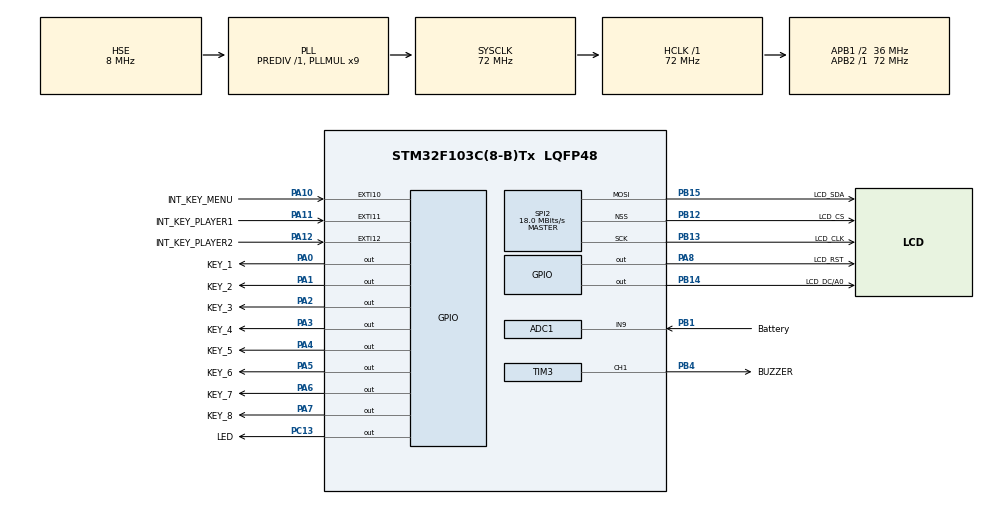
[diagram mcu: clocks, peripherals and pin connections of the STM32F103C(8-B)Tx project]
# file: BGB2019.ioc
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ADC1.Channel-0\#ChannelRegularConversion=ADC_CHANNEL_9
ADC1.Channel-1\#ChannelRegularConversion=ADC_CHANNEL_VREFINT
ADC1.ContinuousConvMode=DISABLE
ADC1.NbrOfConversion=2
ADC1.NbrOfConversionFlag=1
ADC1.Rank-0\#ChannelRegularConversion=1
ADC1.Rank-1\#ChannelRegularConversion=2
ADC1.SamplingTime-0\#ChannelRegularConversion=ADC_SAMPLETIME_239CYCLES_5
ADC1.SamplingTime-1\#ChannelRegularConversion=ADC_SAMPLETIME_239CYCLES_5
ADC1.master=1
Dma.ADC1.0.Direction=DMA_PERIPH_TO_MEMORY
Dma.ADC1.0.Instance=DMA1_Channel1
Dma.ADC1.0.MemDataAlignment=DMA_MDATAALIGN_HALFWORD
Dma.ADC1.0.MemInc=DMA_MINC_ENABLE
Dma.ADC1.0.Mode=DMA_NORMAL
Dma.ADC1.0.PeriphDataAlignment=DMA_PDATAALIGN_HALFWORD
Dma.ADC1.0.PeriphInc=DMA_PINC_DISABLE
Dma.ADC1.0.Priority=DMA_PRIORITY_LOW
Dma.Request0=ADC1
Mcu.Family=STM32F1
Mcu.Name=STM32F103C(8-B)Tx
Mcu.Package=LQFP48
NVIC.DMA1_Channel1_IRQn=true\:0\:0\:false\:false\:true\:false\:true
NVIC.EXTI15_10_IRQn=true\:0\:0\:false\:false\:true\:true\:true
NVIC.PriorityGroup=NVIC_PRIORITYGROUP_4
NVIC.TIM4_IRQn=true\:0\:0\:false\:false\:true\:true\:true
PA0-WKUP.GPIO_Label=KEY_1
PA0-WKUP.GPIO_ModeDefaultOutputPP=GPIO_MODE_OUTPUT_OD
PA0-WKUP.GPIO_Speed=GPIO_SPEED_FREQ_HIGH
PA0-WKUP.PinState=GPIO_PIN_RESET
PA0-WKUP.Signal=GPIO_Output
PA1.GPIO_Label=KEY_2
PA1.GPIO_ModeDefaultOutputPP=GPIO_MODE_OUTPUT_OD
PA1.GPIO_Speed=GPIO_SPEED_FREQ_HIGH
PA1.Signal=GPIO_Output
PA10.GPIO_Label=INT_KEY_MENU
PA10.GPIO_ModeDefaultEXTI=GPIO_MODE_IT_RISING_FALLING
PA10.GPIO_PuPd=GPIO_PULLUP
PA10.Signal=GPXTI10
PA11.GPIO_Label=INT_KEY_PLAYER1
PA11.GPIO_ModeDefaultEXTI=GPIO_MODE_IT_RISING_FALLING
PA11.GPIO_PuPd=GPIO_PULLUP
PA11.Signal=GPXTI11
PA12.GPIO_Label=INT_KEY_PLAYER2
PA12.GPIO_ModeDefaultEXTI=GPIO_MODE_IT_RISING_FALLING
PA12.GPIO_PuPd=GPIO_PULLUP
PA12.Signal=GPXTI12
PA13.Mode=JTAG_4_pins
PA13.Signal=SYS_JTMS-SWDIO
PA14.Mode=JTAG_4_pins
PA14.Signal=SYS_JTCK-SWCLK
PA15.Mode=JTAG_4_pins
PA15.Signal=SYS_JTDI
PA2.GPIO_Label=KEY_3
PA2.GPIO_ModeDefaultOutputPP=GPIO_MODE_OUTPUT_OD
PA2.GPIO_Speed=GPIO_SPEED_FREQ_HIGH
PA2.Signal=GPIO_Output
PA3.GPIO_Label=KEY_4
PA3.GPIO_ModeDefaultOutputPP=GPIO_MODE_OUTPUT_OD
PA3.GPIO_Speed=GPIO_SPEED_FREQ_HIGH
PA3.Signal=GPIO_Output
PA4.GPIO_Label=KEY_5
PA4.GPIO_ModeDefaultOutputPP=GPIO_MODE_OUTPUT_OD
PA4.GPIO_Speed=GPIO_SPEED_FREQ_HIGH
PA4.Signal=GPIO_Output
PA5.GPIO_Label=KEY_6
PA5.GPIO_ModeDefaultOutputPP=GPIO_MODE_OUTPUT_OD
PA5.GPIO_Speed=GPIO_SPEED_FREQ_HIGH
PA5.Signal=GPIO_Output
PA6.GPIO_Label=KEY_7
PA6.GPIO_ModeDefaultOutputPP=GPIO_MODE_OUTPUT_OD
PA6.GPIO_Speed=GPIO_SPEED_FREQ_HIGH
PA6.Signal=GPIO_Output
PA7.GPIO_Label=KEY_8
PA7.GPIO_ModeDefaultOutputPP=GPIO_MODE_OUTPUT_OD
PA7.GPIO_Speed=GPIO_SPEED_FREQ_HIGH
PA7.Signal=GPIO_Output
PA8.GPIO_Label=LCD_RST
PA8.GPIO_ModeDefaultOutputPP=GPIO_MODE_OUTPUT_PP
PA8.GPIO_Speed=GPIO_SPEED_FREQ_LOW
PA8.Signal=GPIO_Output
PB1.GPIO_Label=Battery
PB1.Signal=ADCx_IN9
PB12.GPIO_Label=LCD_CS
PB12.GPIO_Speed=GPIO_SPEED_FREQ_LOW
PB12.Mode=NSS_Signal_Hard_Output
PB12.Signal=SPI2_NSS
PB13.GPIO_Label=LCD_CLK
PB13.GPIO_Speed=GPIO_SPEED_FREQ_LOW
PB13.Mode=TX_Only_Simplex_Unidirect_Master
PB13.Signal=SPI2_SCK
PB14.GPIO_Label=LCD_DC/A0
PB14.Signal=GPIO_Output
PB15.GPIO_Label=LCD_SDA
PB15.GPIO_Speed=GPIO_SPEED_FREQ_LOW
PB15.Mode=TX_Only_Simplex_Unidirect_Master
PB15.Signal=SPI2_MOSI
PB3.Mode=JTAG_4_pins
PB3.Signal=SYS_JTDO-TRACESWO
PB4.GPIO_Label=BUZZER
PB4.Signal=S_TIM3_CH1
PC13-TAMPER-RTC.GPIO_Label=LED
PC13-TAMPER-RTC.Signal=GPIO_Output
PC14-OSC32_IN.Mode=LSE-External-Oscillator
PC14-OSC32_IN.Signal=RCC_OSC32_IN
PC15-OSC32_OUT.Mode=LSE-External-Oscillator
PC15-OSC32_OUT.Signal=RCC_OSC32_OUT
PD0-OSC_IN.Mode=HSE-External-Oscillator
PD0-OSC_IN.Signal=RCC_OSC_IN
PD1-OSC_OUT.Mode=HSE-External-Oscillator
PD1-OSC_OUT.Signal=RCC_OSC_OUT
ProjectManager.HeapSize=0x200
ProjectManager.StackSize=0x400
ProjectManager.TargetToolchain=STM32CubeIDE
RCC.ADCPresc=RCC_ADCPCLK2_DIV6
RCC.AHBFreq_Value=72000000
RCC.APB1CLKDivider=RCC_HCLK_DIV2
RCC.APB1Freq_Value=36000000
RCC.APB1TimFreq_Value=72000000
RCC.APB2Freq_Value=72000000
RCC.APB2TimFreq_Value=72000000
RCC.HCLKFreq_Value=72000000
RCC.PLLMUL=RCC_PLL_MUL9
RCC.PLLSourceVirtual=RCC_PLLSOURCE_HSE
RCC.SYSCLKFreq_VALUE=72000000
RCC.SYSCLKSource=RCC_SYSCLKSOURCE_PLLCLK
RCC.USBFreq_Value=72000000
SH.ADCx_IN9.0=ADC1_IN9,IN9
SH.S_TIM3_CH1.0=TIM3_CH1,PWM Generation1 CH1
SPI2.CalculateBaudRate=18.0 MBits/s
SPI2.Direction=SPI_DIRECTION_2LINES
SPI2.Mode=SPI_MODE_MASTER
SPI2.VirtualNSS=VM_NSSHARD
SPI2.VirtualType=VM_MASTER
TIM3.Channel-PWM\ Generation1\ CH1=TIM_CHANNEL_1
TIM3.OCMode_PWM-PWM\ Generation1\ CH1=TIM_OCMODE_PWM2
TIM3.Period=150
TIM3.Prescaler=7200
TIM3.Pulse-PWM\ Generation1\ CH1=1
TIM3.TIM_MasterOutputTrigger=TIM_TRGO_ENABLE
TIM4.AutoReloadPreload=TIM_AUTORELOAD_PRELOAD_ENABLE
TIM4.Period=36000
TIM4.Prescaler=1
TIM4.TIM_MasterOutputTrigger=TIM_TRGO_UPDATE
VP_ADC1_Vref_Input.Mode=IN-Vrefint
VP_TIM3_VS_ClockSourceINT.Mode=Internal
VP_TIM3_VS_OPM.Mode=OPM_bit
VP_TIM4_VS_ClockSourceINT.Mode=Internal
board=custom

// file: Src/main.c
/* USER CODE BEGIN Header */
/**
  ******************************************************************************
  * @file           : main.c
  * @brief          : Main program body
  ******************************************************************************
  * @attention
  *
  * <h2><center>&copy; Copyright (c) 2019 STMicroelectronics.
  * All rights reserved.</center></h2>
  *
  * This software component is licensed by ST under BSD 3-Clause license,
  * the "License"; You may not use this file except in compliance with the
  * License. You may obtain a copy of the License at:
  *                        opensource.org/licenses/BSD-3-Clause
  *
  ******************************************************************************
  */
/* USER CODE END Header */

#include "main.h"

/* USER CODE BEGIN Includes */
#include "APP_SCORE.h"
#include "LCD_ST7735.h"   //ST7735 basic library
#include "KEY_BUZZ_BATT.h"
#include "main.h"
#include "stm32f1xx_hal.h"
#include "FONT_number_lg.h"
#include "FONT_number_xg.h"
#include "FONT_number_ss.h"
#include "FONT_alpha_lg.h"
#include "APP_FUNCTION.h"
#include <stdlib.h>
/* USER CODE END Includes */

ADC_HandleTypeDef hadc1;
DMA_HandleTypeDef hdma_adc1;

SPI_HandleTypeDef hspi2;

TIM_HandleTypeDef htim3;
TIM_HandleTypeDef htim4;

/* USER CODE BEGIN PV */

unsigned int SYS_FLAGS=0;     // 16 bit flags used to alarm timers overflow and user key

unsigned int SOFT_FLAGS=0;    // 16 bit general use flags

unsigned int TIMER_DICE; // soft timer used for DICE APP (1ms~1.09minutes)
unsigned long int TIMER_6;  // soft timer used for general use (1ms~50days..just in case :)
unsigned long int TIMER_5;  // soft timer used for general use (1ms~50days)
unsigned int TIMER_4; // soft timer used for general use (1ms~1.09minutes)
unsigned int TIMER_3; // soft timer used for general use (1ms~1.09minutes)
unsigned int TIMER_1;
unsigned int TIMER_2;
unsigned char TIMER_KEY_P1; // soft timer used for player 1 key debounce (1ms~255ms)
unsigned char TIMER_KEY_P2; // soft timer used for player 2 key debounce (1ms~255ms)
unsigned int TIMER_REPEAT_1; // XXXY timer to start repeat for P1;
unsigned int TIMER_REPEAT_2; // XXXY timer to start repeat for P2;
unsigned char TIMER_SPEED_REPT1; // XXXY speed of repeat por P1
unsigned char TIMER_SPEED_REPT2; // XXXY speed of repeat por P2
unsigned char TIMER_KEY_M;  // soft timer used for menu key debounce
unsigned long int TIMER_BATT; // soft timer used for BATT check (1ms~50days)
unsigned long int CHRONO_1;  // chronograph 1 (50ms~50days)
unsigned long int SCHRONO_1; // auxiliar for chrono. only step values multiple of CHRONO_x_ALARM
unsigned long int CHRONO_1_ALARM; //Chrono_1 will set alarm every CHRONO_1_ALARM (0=off)
unsigned long int CHRONO_2_ALARM; //Chrono_2 will set alarm every CHRONO_2_ALARM (0=off)
unsigned long int CHRONO_2;  // chronograph 2 (50ms~50days)
unsigned long int SCHRONO_2; // auxiliar for chrono. only step values multiple of CHRONO_x_ALARM
unsigned long int TIMER_TIC = 0;  // soft system running time. always on (50ms~50days in 1msec steps)
uint32_t aaa1 = 0x00U; //lixo
uint32_t aaa2 = 0x00U; //lixo
uint32_t aaa3 = 0x00U; //lixo
uint32_t aaa4 = 0x00U; //lixo
unsigned char LIXO = 1; //lixo
unsigned char LIXO1 = 1; //lixo
unsigned char LIXO2 = 1; //lixo
unsigned short V_BATT;

const char MHOME1[6][11]={"HOME MENU", "TIMER","CHRONO","SCOREBOARD", "CHESSCLOCK","     MORE>"}; //itens for mode APP menu
const char MHOME2[6][11]={"HOME MENU", "HOURGLASS", "B I N G O","ROULETTE","","     MORE>"}; //itens for mode APP menu

/* USER CODE END PV */

void SystemClock_Config(void);
static void MX_GPIO_Init(void);
static void MX_DMA_Init(void);
static void MX_ADC1_Init(void);
static void MX_SPI2_Init(void);
static void MX_TIM3_Init(void);
static void MX_TIM4_Init(void);
/* USER CODE BEGIN PFP */
void DISPLAY_BATT(void);
void HAL_TIM_MspPostInit(TIM_HandleTypeDef *htim);
void SystemClock_Config(void);
static void MX_SPI2_Init(void);
void LCD_PLOT(unsigned char X, unsigned char Y, unsigned int color);
void LCD_COLORWINDOW(unsigned char X1, unsigned char Y1, unsigned char X2, unsigned char Y2, unsigned int color);
void LCD_LINE(unsigned char x1, unsigned char y1, unsigned char x2, unsigned char y2, unsigned int color);
void ARM_KEY_PLAYER1();
void DESARM_KEY_PLAYER1();
void ARM_KEY_PLAYER2();
void DESARM_KEY_PLAYER2();
void ARM_KEY_MENU();
void DESARM_KEY_MENU();
void LCD_NUMBER (int n, unsigned char x, unsigned char y, unsigned char field);
void GO_SLEEP(void);
void LCD_WORD (char w[], unsigned char x, unsigned char y, unsigned char field);
char ANY_KEY( unsigned int group);
char GET_KEY ( unsigned int group);
void BUZZER (int pulse);
void CHECK_BATT(void);
void START_CHECK_BATT(void);
void SCORE(void);
void CHRONOGRAPH (void);
void RTIMER (void);
void CHESS (void);
void HOURGLASS (void);
void BINGO (void);
void ROULETTE (void);
char SELECTMENU (const char ITEMS[6][11],unsigned int frg, unsigned int bkg);
void TOILET (void);
void WAIT_NO_KEY (void);

/* USER CODE END PFP */

int main(void)
{

  /* MCU Configuration--------------------------------------------------------*/

  /* Reset of all peripherals, Initializes the Flash interface and the Systick. */
  HAL_Init();

  /* Configure the system clock */
  SystemClock_Config();

  /* Initialize all configured peripherals */
  MX_GPIO_Init();
  MX_DMA_Init();
  MX_ADC1_Init();
  MX_SPI2_Init();
  MX_TIM3_Init();
  MX_TIM4_Init();
  /* USER CODE BEGIN 2 */
  LCD_INIT();
  SOFT_FLAGS |= BIT_BUZZER_ON;  // turn speaker on
  HAL_TIM_Base_Start_IT(&htim4); //Start the timer
  LCD_COLORWINDOW (0, 0, 159, 127, BLACK);
  HAL_TIM_OnePulse_Start(&htim3, TIM_CHANNEL_1);
  START_CHECK_BATT();
  /* USER CODE END 2 */

  /* Infinite loop */
  /* USER CODE BEGIN WHILE */
  while (1)
  {
	  do {
	  	switch (SELECTMENU(MHOME1,WHITE,BLUE0))
	  	{
	  		case 1:
	  			RTIMER();

	  			break;
	  		case 2:
	  			CHRONOGRAPH();
	  			break;
	  		case 3:
	  			SCORE();
	  			break;
	  		case 4:
	  			CHESS();
	  			break;

	  	}
	  	switch (SELECTMENU(MHOME2,WHITE,BLUE0))
	  	{
	  		case 1:
	  			HOURGLASS();
	  			break;
	  		case 2:
	  			BINGO();
	  			break;
	  		case 3:
	  			ROULETTE();
	  			break;

	  	}

	  } while (1);
    /* USER CODE END WHILE */

  }
}

void SystemClock_Config(void)
{
  RCC_OscInitTypeDef RCC_OscInitStruct = {0};
  RCC_ClkInitTypeDef RCC_ClkInitStruct = {0};
  RCC_PeriphCLKInitTypeDef PeriphClkInit = {0};

  /** Initializes the CPU, AHB and APB busses clocks
  */
  RCC_OscInitStruct.OscillatorType = RCC_OSCILLATORTYPE_HSE;
  RCC_OscInitStruct.HSEState = RCC_HSE_ON;
  RCC_OscInitStruct.HSEPredivValue = RCC_HSE_PREDIV_DIV1;
  RCC_OscInitStruct.HSIState = RCC_HSI_ON;
  RCC_OscInitStruct.PLL.PLLState = RCC_PLL_ON;
  RCC_OscInitStruct.PLL.PLLSource = RCC_PLLSOURCE_HSE;
  RCC_OscInitStruct.PLL.PLLMUL = RCC_PLL_MUL9;
  if (HAL_RCC_OscConfig(&RCC_OscInitStruct) != HAL_OK)
  {
    Error_Handler();
  }
  /** Initializes the CPU, AHB and APB busses clocks
  */
  RCC_ClkInitStruct.ClockType = RCC_CLOCKTYPE_HCLK|RCC_CLOCKTYPE_SYSCLK
                              |RCC_CLOCKTYPE_PCLK1|RCC_CLOCKTYPE_PCLK2;
  RCC_ClkInitStruct.SYSCLKSource = RCC_SYSCLKSOURCE_PLLCLK;
  RCC_ClkInitStruct.AHBCLKDivider = RCC_SYSCLK_DIV1;
  RCC_ClkInitStruct.APB1CLKDivider = RCC_HCLK_DIV2;
  RCC_ClkInitStruct.APB2CLKDivider = RCC_HCLK_DIV1;

  if (HAL_RCC_ClockConfig(&RCC_ClkInitStruct, FLASH_LATENCY_2) != HAL_OK)
  {
    Error_Handler();
  }
  PeriphClkInit.PeriphClockSelection = RCC_PERIPHCLK_ADC;
  PeriphClkInit.AdcClockSelection = RCC_ADCPCLK2_DIV6;
  if (HAL_RCCEx_PeriphCLKConfig(&PeriphClkInit) != HAL_OK)
  {
    Error_Handler();
  }
}

static void MX_ADC1_Init(void)
{

  ADC_ChannelConfTypeDef sConfig = {0};

  /** Common config
  */
  hadc1.Instance = ADC1;
  hadc1.Init.ScanConvMode = ADC_SCAN_ENABLE;
  hadc1.Init.ContinuousConvMode = DISABLE;
  hadc1.Init.DiscontinuousConvMode = DISABLE;
  hadc1.Init.ExternalTrigConv = ADC_SOFTWARE_START;
  hadc1.Init.DataAlign = ADC_DATAALIGN_RIGHT;
  hadc1.Init.NbrOfConversion = 2;
  if (HAL_ADC_Init(&hadc1) != HAL_OK)
  {
    Error_Handler();
  }
  /** Configure Regular Channel
  */
  sConfig.Channel = ADC_CHANNEL_9;
  sConfig.Rank = ADC_REGULAR_RANK_1;
  sConfig.SamplingTime = ADC_SAMPLETIME_239CYCLES_5;
  if (HAL_ADC_ConfigChannel(&hadc1, &sConfig) != HAL_OK)
  {
    Error_Handler();
  }
  /** Configure Regular Channel
  */
  sConfig.Channel = ADC_CHANNEL_VREFINT;
  sConfig.Rank = ADC_REGULAR_RANK_2;
  if (HAL_ADC_ConfigChannel(&hadc1, &sConfig) != HAL_OK)
  {
    Error_Handler();
  }

}

static void MX_SPI2_Init(void)
{

  /* SPI2 parameter configuration*/
  hspi2.Instance = SPI2;
  hspi2.Init.Mode = SPI_MODE_MASTER;
  hspi2.Init.Direction = SPI_DIRECTION_2LINES;
  hspi2.Init.DataSize = SPI_DATASIZE_8BIT;
  hspi2.Init.CLKPolarity = SPI_POLARITY_LOW;
  hspi2.Init.CLKPhase = SPI_PHASE_1EDGE;
  hspi2.Init.NSS = SPI_NSS_HARD_OUTPUT;
  hspi2.Init.BaudRatePrescaler = SPI_BAUDRATEPRESCALER_2;
  hspi2.Init.FirstBit = SPI_FIRSTBIT_MSB;
  hspi2.Init.TIMode = SPI_TIMODE_DISABLE;
  hspi2.Init.CRCCalculation = SPI_CRCCALCULATION_DISABLE;
  hspi2.Init.CRCPolynomial = 10;
  if (HAL_SPI_Init(&hspi2) != HAL_OK)
  {
    Error_Handler();
  }

}

static void MX_TIM3_Init(void)
{

  TIM_ClockConfigTypeDef sClockSourceConfig = {0};
  TIM_MasterConfigTypeDef sMasterConfig = {0};
  TIM_OC_InitTypeDef sConfigOC = {0};

  htim3.Instance = TIM3;
  htim3.Init.Prescaler = 7200;
  htim3.Init.CounterMode = TIM_COUNTERMODE_UP;
  htim3.Init.Period = 150;
  htim3.Init.ClockDivision = TIM_CLOCKDIVISION_DIV1;
  htim3.Init.AutoReloadPreload = TIM_AUTORELOAD_PRELOAD_DISABLE;
  if (HAL_TIM_Base_Init(&htim3) != HAL_OK)
  {
    Error_Handler();
  }
  sClockSourceConfig.ClockSource = TIM_CLOCKSOURCE_INTERNAL;
  if (HAL_TIM_ConfigClockSource(&htim3, &sClockSourceConfig) != HAL_OK)
  {
    Error_Handler();
  }
  if (HAL_TIM_PWM_Init(&htim3) != HAL_OK)
  {
    Error_Handler();
  }
  if (HAL_TIM_OnePulse_Init(&htim3, TIM_OPMODE_SINGLE) != HAL_OK)
  {
    Error_Handler();
  }
  sMasterConfig.MasterOutputTrigger = TIM_TRGO_ENABLE;
  sMasterConfig.MasterSlaveMode = TIM_MASTERSLAVEMODE_DISABLE;
  if (HAL_TIMEx_MasterConfigSynchronization(&htim3, &sMasterConfig) != HAL_OK)
  {
    Error_Handler();
  }
  sConfigOC.OCMode = TIM_OCMODE_PWM2;
  sConfigOC.Pulse = 1;
  sConfigOC.OCPolarity = TIM_OCPOLARITY_HIGH;
  sConfigOC.OCFastMode = TIM_OCFAST_DISABLE;
  if (HAL_TIM_PWM_ConfigChannel(&htim3, &sConfigOC, TIM_CHANNEL_1) != HAL_OK)
  {
    Error_Handler();
  }
  HAL_TIM_MspPostInit(&htim3);

}

static void MX_TIM4_Init(void)
{

  TIM_ClockConfigTypeDef sClockSourceConfig = {0};
  TIM_MasterConfigTypeDef sMasterConfig = {0};

  htim4.Instance = TIM4;
  htim4.Init.Prescaler = 1;
  htim4.Init.CounterMode = TIM_COUNTERMODE_UP;
  htim4.Init.Period = 36002;
  htim4.Init.ClockDivision = TIM_CLOCKDIVISION_DIV1;
  htim4.Init.AutoReloadPreload = TIM_AUTORELOAD_PRELOAD_ENABLE;
  if (HAL_TIM_Base_Init(&htim4) != HAL_OK)
  {
    Error_Handler();
  }
  sClockSourceConfig.ClockSource = TIM_CLOCKSOURCE_INTERNAL;
  if (HAL_TIM_ConfigClockSource(&htim4, &sClockSourceConfig) != HAL_OK)
  {
    Error_Handler();
  }
  sMasterConfig.MasterOutputTrigger = TIM_TRGO_UPDATE;
  sMasterConfig.MasterSlaveMode = TIM_MASTERSLAVEMODE_DISABLE;
  if (HAL_TIMEx_MasterConfigSynchronization(&htim4, &sMasterConfig) != HAL_OK)
  {
    Error_Handler();
  }

}

static void MX_DMA_Init(void)
{

  /* DMA controller clock enable */
  __HAL_RCC_DMA1_CLK_ENABLE();

  /* DMA interrupt init */
  /* DMA1_Channel1_IRQn interrupt configuration */
  HAL_NVIC_SetPriority(DMA1_Channel1_IRQn, 0, 0);
  HAL_NVIC_EnableIRQ(DMA1_Channel1_IRQn);

}

static void MX_GPIO_Init(void)
{
  GPIO_InitTypeDef GPIO_InitStruct = {0};

  /* GPIO Ports Clock Enable */
  __HAL_RCC_GPIOC_CLK_ENABLE();
  __HAL_RCC_GPIOD_CLK_ENABLE();
  __HAL_RCC_GPIOA_CLK_ENABLE();
  __HAL_RCC_GPIOB_CLK_ENABLE();

  /*Configure GPIO pin Output Level */
  HAL_GPIO_WritePin(LED_GPIO_Port, LED_Pin, GPIO_PIN_RESET);

  /*Configure GPIO pin Output Level */
  HAL_GPIO_WritePin(GPIOA, KEY_1_Pin|KEY_2_Pin|KEY_3_Pin|KEY_4_Pin
                          |KEY_5_Pin|KEY_6_Pin|KEY_7_Pin|KEY_8_Pin
                          |LCD_RST_Pin, GPIO_PIN_RESET);

  /*Configure GPIO pin Output Level */
  HAL_GPIO_WritePin(LCD_DC_A0_GPIO_Port, LCD_DC_A0_Pin, GPIO_PIN_RESET);

  /*Configure GPIO pin : LED_Pin */
  GPIO_InitStruct.Pin = LED_Pin;
  GPIO_InitStruct.Mode = GPIO_MODE_OUTPUT_PP;
  GPIO_InitStruct.Pull = GPIO_NOPULL;
  GPIO_InitStruct.Speed = GPIO_SPEED_FREQ_LOW;
  HAL_GPIO_Init(LED_GPIO_Port, &GPIO_InitStruct);

  /*Configure GPIO pins : KEY_1_Pin KEY_2_Pin KEY_3_Pin KEY_4_Pin
                           KEY_5_Pin KEY_6_Pin KEY_7_Pin KEY_8_Pin */
  GPIO_InitStruct.Pin = KEY_1_Pin|KEY_2_Pin|KEY_3_Pin|KEY_4_Pin
                          |KEY_5_Pin|KEY_6_Pin|KEY_7_Pin|KEY_8_Pin;
  GPIO_InitStruct.Mode = GPIO_MODE_OUTPUT_OD;
  GPIO_InitStruct.Pull = GPIO_NOPULL;
  GPIO_InitStruct.Speed = GPIO_SPEED_FREQ_HIGH;
  HAL_GPIO_Init(GPIOA, &GPIO_InitStruct);

  /*Configure GPIO pin : LCD_DC_A0_Pin */
  GPIO_InitStruct.Pin = LCD_DC_A0_Pin;
  GPIO_InitStruct.Mode = GPIO_MODE_OUTPUT_PP;
  GPIO_InitStruct.Pull = GPIO_NOPULL;
  GPIO_InitStruct.Speed = GPIO_SPEED_FREQ_LOW;
  HAL_GPIO_Init(LCD_DC_A0_GPIO_Port, &GPIO_InitStruct);

  /*Configure GPIO pin : LCD_RST_Pin */
  GPIO_InitStruct.Pin = LCD_RST_Pin;
  GPIO_InitStruct.Mode = GPIO_MODE_OUTPUT_PP;
  GPIO_InitStruct.Pull = GPIO_NOPULL;
  GPIO_InitStruct.Speed = GPIO_SPEED_FREQ_LOW;
  HAL_GPIO_Init(LCD_RST_GPIO_Port, &GPIO_InitStruct);

  /*Configure GPIO pins : INT_KEY_MENU_Pin INT_KEY_PLAYER1_Pin INT_KEY_PLAYER2_Pin */
  GPIO_InitStruct.Pin = INT_KEY_MENU_Pin|INT_KEY_PLAYER1_Pin|INT_KEY_PLAYER2_Pin;
  GPIO_InitStruct.Mode = GPIO_MODE_IT_RISING_FALLING;
  GPIO_InitStruct.Pull = GPIO_PULLUP;
  HAL_GPIO_Init(GPIOA, &GPIO_InitStruct);

  /* EXTI interrupt init*/
  HAL_NVIC_SetPriority(EXTI15_10_IRQn, 0, 0);
  HAL_NVIC_EnableIRQ(EXTI15_10_IRQn);

}

/* USER CODE BEGIN 4 */
void TOILET (void)
//clear all timers alarms and flags
{
	WAIT_NO_KEY (); //wait no key pressed
	SYS_FLAGS &= BIT_BATT; // clear all sys flags but battery
	SOFT_FLAGS &= (BIT_BUZZER_ON | BIT_BATT_BLINK);  // clear all soft  flags but buzzer and batt
	TIMER_1=0;  //clear all timers and alarms
	TIMER_2=0;
	TIMER_3=0;
	TIMER_4=0;
	TIMER_5=0;
	TIMER_6=0;

	CHRONO_1=0;
	SCHRONO_1=0;
	CHRONO_2=0;
	SCHRONO_2=0;
	CHRONO_1_ALARM = 0;
	CHRONO_2_ALARM = 0;
}

void GO_SLEEP(void) {		// if no pending flags, then go sleep and save batt

	do {

	//	HAL_GPIO_WritePin(LED_GPIO_Port, LED_Pin, GPIO_PIN_SET);  //turn LED off indicating Im sleeping
		HAL_GPIO_WritePin(LED_GPIO_Port, LED_Pin, GPIO_PIN_SET);
		HAL_SuspendTick();   // turn systick off before sleep
		HAL_PWR_EnterSLEEPMode( 0, PWR_SLEEPENTRY_WFE);   // go sleep
		HAL_ResumeTick();   //resume systick
	//	HAL_GPIO_WritePin(LED_GPIO_Port, LED_Pin, GPIO_PIN_RESET);  //tunr LED on indicating Im awake
		//	if (!TIMER_BATT) {
	//		TIMER_BATT= BATT_CYCLE;
	//		// SYS_FLAGS ^= BIT_BATT;
	//		CHECK_BATT();
	//	}
	} while (!SYS_FLAGS);

	HAL_GPIO_WritePin(LED_GPIO_Port, LED_Pin, GPIO_PIN_RESET);  //tunr LED on indicating Im awake

}

void HAL_TIM_PeriodElapsedCallback(TIM_HandleTypeDef *htim) {
 // This callback is automatically called by the HAL on the UEV event
 if(htim->Instance == TIM4) {

 if (TIMER_KEY_P1)            //debounce timer
 {
  if (!--TIMER_KEY_P1) {       //if debouce time ends
    SYS_FLAGS |= BIT_KEY_P1;  //set key flag
    // if (ANY_KEY(BIT_KEY_P1 )) BUZZER (KEYTONE);  //buzzer key feedback
    //The_Key = GET_KEY (BIT_KEY_P1);	// The_Key = the key (1~8) that waked up cpu
    //The_Group=BIT_KEY_P1;			// and The_Group = P1, P2 or M
    if (GET_KEY (BIT_KEY_P1))
    	{
    	BUZZER (KEYTONE);
    	 if (SOFT_FLAGS & BIT_KREPEAT) TIMER_REPEAT_1 = TIMEtoREPEAT;     //xxxy
    	}

 }
 }

 if (TIMER_REPEAT_1)     //yxxx if player key is held pressed then repeat
 {
	 if (!--TIMER_REPEAT_1)
	 {
		 if (GET_KEY (BIT_KEY_P1)) TIMER_SPEED_REPT1=TIMEREPEATSPEED; //start repeat key
	 }
 }

 if (TIMER_SPEED_REPT1)  //repeating key press while hold    xxxy
 {
	 if (!--TIMER_SPEED_REPT1)  //time to repeat
	 {
		 if (GET_KEY (BIT_KEY_P1)) // and key still  pressed
		 {
			 TIMER_SPEED_REPT1=TIMEREPEATSPEED; //prepare to repeat again
			 SYS_FLAGS |= BIT_KEY_P1;  //set key flag
		 }
	 }

 }

 if (TIMER_KEY_P2)            //debounce timer
 {
  if (!--TIMER_KEY_P2) {       //if debouce time ends
    SYS_FLAGS |= BIT_KEY_P2;  //set key flag
       if (GET_KEY (BIT_KEY_P2))
    	{
    	BUZZER (KEYTONE);
    	if (SOFT_FLAGS & BIT_KREPEAT) TIMER_REPEAT_2 = TIMEtoREPEAT;     //xxxy
    	}
 }
 }

 if (TIMER_REPEAT_2)     //yxxx if player key is held pressed then repeat
 {
	 if (!--TIMER_REPEAT_2)
	 {
		 if (GET_KEY (BIT_KEY_P2)) TIMER_SPEED_REPT2=TIMEREPEATSPEED; //start repeat key
	 }
 }

 if (TIMER_SPEED_REPT2)  //repeating key press while hold    xxxy
 {
	 if (!--TIMER_SPEED_REPT2)  //time to repeat
	 {
		 if (GET_KEY (BIT_KEY_P2)) // and key still  pressed
		 {
			 TIMER_SPEED_REPT2=TIMEREPEATSPEED; //prepare to repeat again
			 SYS_FLAGS |= BIT_KEY_P2;  //set key flag
		 }
	 }

 }

  if (TIMER_KEY_M)           //debounce timer
  if (!--TIMER_KEY_M) {       //if debouce time ends
    SYS_FLAGS |= BIT_KEY_M;  //set key flag
    //The_Key = GET_KEY (BIT_KEY_M);
    //The_Group=BIT_KEY_M;
    if (GET_KEY (BIT_KEY_M)) BUZZER (KEYTONE);
 }

  if (TIMER_DICE)                 //if timer running
  if (!--TIMER_DICE) {            //and just ends
    SYS_FLAGS |= BIT_TIMER_DICE;  //set timer flag
  }

 if (TIMER_1)                 //if timer running
  if (!--TIMER_1) {            //and just ends
    SYS_FLAGS |= BIT_TIMER_1;  //set timer flag
  }

 if (TIMER_2)                 //if timer running
  if (!--TIMER_2) {            //and just ends
    SYS_FLAGS |= BIT_TIMER_2;  //set timer flag
  }

   if (TIMER_3)                 //if timer running
  if (!--TIMER_3) {            //and just ends
    SYS_FLAGS |= BIT_TIMER_3;  //set timer flag
  }

   if (TIMER_4)                 //if timer running
  if (!--TIMER_4) {            //and just ends
    SYS_FLAGS |= BIT_TIMER_4;  //set timer flag
  }

   if (TIMER_5)                 //if timer running
  if (!--TIMER_5) {            //and just ends
    SYS_FLAGS |= BIT_TIMER_5;  //set timer flag
  }

   if (TIMER_6)                 //if timer running
  if (!--TIMER_6) {            //and just ends
    SYS_FLAGS |= BIT_TIMER_6;  //set timer flag
  }

   if (TIMER_BATT)                 //if timer running
  if (!--TIMER_BATT) {            //and just ends
  //  SYS_FLAGS |= BIT_BATT;  //set timer flag
    TIMER_BATT = BATT_CYCLE;
    CHECK_BATT();
  }

   if (SOFT_FLAGS & BIT_CHRONO_1_RUN) // chronograph, runs if enabled
   {
	   ++CHRONO_1;
	   if (CHRONO_1_ALARM) // if chrono 1 is multiple of chrono 1 alarm, then set flag
	   {
		   if (!(CHRONO_1 % CHRONO_1_ALARM))
			   {
			   SCHRONO_1=CHRONO_1;
			   SYS_FLAGS |= BIT_CHRONO_1_ALARM;
			   }

	   }
   }

if (SOFT_FLAGS & BIT_CHRONO_2_RUN) // chronograph, runs if enabled
{
	   ++CHRONO_2;
	   if (CHRONO_2_ALARM) // if chrono 2 is multiple of chrono 2 alarm, then set flag
	   {
		   if (!(CHRONO_2 % CHRONO_2_ALARM))
			   {
			   SCHRONO_2=CHRONO_2;
			   SYS_FLAGS |= BIT_CHRONO_2_ALARM;
			   }
	   }
}

  ++ TIMER_TIC; // system timer always running
rand(); //just to improve rand function

}

 }

void HAL_GPIO_EXTI_Callback(uint16_t GPIO_Pin) { // ISR (interrupt) routine after key press/release

  if(GPIO_Pin == INT_KEY_PLAYER1_Pin)
  //  if (!TIMER_KEY_P1){
 //   DESARM_KEY_PLAYER1();  //disable further interrupt for while (debouncing)  xxx
    TIMER_KEY_P1=DEBOUNCE_TICS;    // debounce mask time
 // }

  if(GPIO_Pin == INT_KEY_PLAYER2_Pin)
    TIMER_KEY_P2=DEBOUNCE_TICS;    // debounce mask time

  if(GPIO_Pin == INT_KEY_MENU_Pin)
	   TIMER_KEY_M=DEBOUNCE_TICS;     // debounce mask time

}

/* USER CODE END 4 */

void Error_Handler(void)
{
}

/************************ (C) COPYRIGHT STMicroelectronics *****END OF FILE****/
